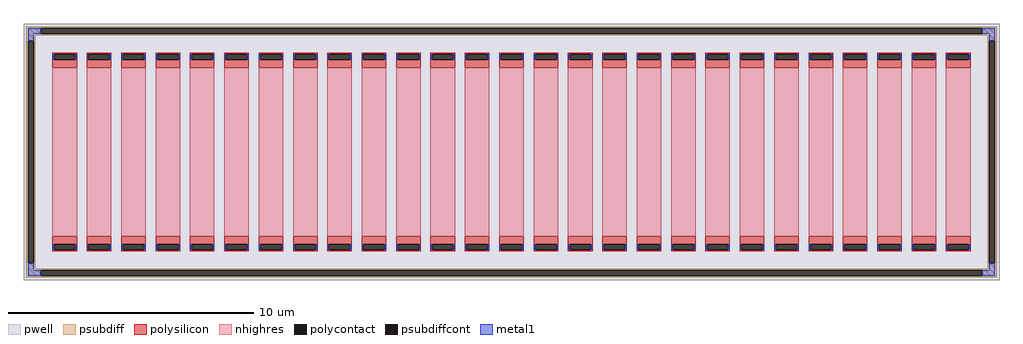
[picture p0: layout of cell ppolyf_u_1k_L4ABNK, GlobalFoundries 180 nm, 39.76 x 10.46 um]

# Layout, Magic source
magic
tech gf180mcuD
magscale 1 10
<< pwell >>
rect -3976 -1046 3976 1046
<< psubdiff >>
rect -3952 1009 3952 1022
rect -3952 963 -3836 1009
rect 3836 963 3952 1009
rect -3952 950 3952 963
rect -3952 906 -3880 950
rect -3952 -906 -3939 906
rect -3893 -906 -3880 906
rect 3880 906 3952 950
rect -3952 -950 -3880 -906
rect 3880 -906 3893 906
rect 3939 -906 3952 906
rect 3880 -950 3952 -906
rect -3952 -963 3952 -950
rect -3952 -1009 -3836 -963
rect 3836 -1009 3952 -963
rect -3952 -1022 3952 -1009
<< psubdiffcont >>
rect -3836 963 3836 1009
rect -3939 -906 -3893 906
rect 3893 -906 3939 906
rect -3836 -1009 3836 -963
<< polysilicon >>
rect -3740 797 -3540 810
rect -3740 751 -3727 797
rect -3553 751 -3540 797
rect -3740 688 -3540 751
rect -3740 -751 -3540 -688
rect -3740 -797 -3727 -751
rect -3553 -797 -3540 -751
rect -3740 -810 -3540 -797
rect -3460 797 -3260 810
rect -3460 751 -3447 797
rect -3273 751 -3260 797
rect -3460 688 -3260 751
rect -3460 -751 -3260 -688
rect -3460 -797 -3447 -751
rect -3273 -797 -3260 -751
rect -3460 -810 -3260 -797
rect -3180 797 -2980 810
rect -3180 751 -3167 797
rect -2993 751 -2980 797
rect -3180 688 -2980 751
rect -3180 -751 -2980 -688
rect -3180 -797 -3167 -751
rect -2993 -797 -2980 -751
rect -3180 -810 -2980 -797
rect -2900 797 -2700 810
rect -2900 751 -2887 797
rect -2713 751 -2700 797
rect -2900 688 -2700 751
rect -2900 -751 -2700 -688
rect -2900 -797 -2887 -751
rect -2713 -797 -2700 -751
rect -2900 -810 -2700 -797
rect -2620 797 -2420 810
rect -2620 751 -2607 797
rect -2433 751 -2420 797
rect -2620 688 -2420 751
rect -2620 -751 -2420 -688
rect -2620 -797 -2607 -751
rect -2433 -797 -2420 -751
rect -2620 -810 -2420 -797
rect -2340 797 -2140 810
rect -2340 751 -2327 797
rect -2153 751 -2140 797
rect -2340 688 -2140 751
rect -2340 -751 -2140 -688
rect -2340 -797 -2327 -751
rect -2153 -797 -2140 -751
rect -2340 -810 -2140 -797
rect -2060 797 -1860 810
rect -2060 751 -2047 797
rect -1873 751 -1860 797
rect -2060 688 -1860 751
rect -2060 -751 -1860 -688
rect -2060 -797 -2047 -751
rect -1873 -797 -1860 -751
rect -2060 -810 -1860 -797
rect -1780 797 -1580 810
rect -1780 751 -1767 797
rect -1593 751 -1580 797
rect -1780 688 -1580 751
rect -1780 -751 -1580 -688
rect -1780 -797 -1767 -751
rect -1593 -797 -1580 -751
rect -1780 -810 -1580 -797
rect -1500 797 -1300 810
rect -1500 751 -1487 797
rect -1313 751 -1300 797
rect -1500 688 -1300 751
rect -1500 -751 -1300 -688
rect -1500 -797 -1487 -751
rect -1313 -797 -1300 -751
rect -1500 -810 -1300 -797
rect -1220 797 -1020 810
rect -1220 751 -1207 797
rect -1033 751 -1020 797
rect -1220 688 -1020 751
rect -1220 -751 -1020 -688
rect -1220 -797 -1207 -751
rect -1033 -797 -1020 -751
rect -1220 -810 -1020 -797
rect -940 797 -740 810
rect -940 751 -927 797
rect -753 751 -740 797
rect -940 688 -740 751
rect -940 -751 -740 -688
rect -940 -797 -927 -751
rect -753 -797 -740 -751
rect -940 -810 -740 -797
rect -660 797 -460 810
rect -660 751 -647 797
rect -473 751 -460 797
rect -660 688 -460 751
rect -660 -751 -460 -688
rect -660 -797 -647 -751
rect -473 -797 -460 -751
rect -660 -810 -460 -797
rect -380 797 -180 810
rect -380 751 -367 797
rect -193 751 -180 797
rect -380 688 -180 751
rect -380 -751 -180 -688
rect -380 -797 -367 -751
rect -193 -797 -180 -751
rect -380 -810 -180 -797
rect -100 797 100 810
rect -100 751 -87 797
rect 87 751 100 797
rect -100 688 100 751
rect -100 -751 100 -688
rect -100 -797 -87 -751
rect 87 -797 100 -751
rect -100 -810 100 -797
rect 180 797 380 810
rect 180 751 193 797
rect 367 751 380 797
rect 180 688 380 751
rect 180 -751 380 -688
rect 180 -797 193 -751
rect 367 -797 380 -751
rect 180 -810 380 -797
rect 460 797 660 810
rect 460 751 473 797
rect 647 751 660 797
rect 460 688 660 751
rect 460 -751 660 -688
rect 460 -797 473 -751
rect 647 -797 660 -751
rect 460 -810 660 -797
rect 740 797 940 810
rect 740 751 753 797
rect 927 751 940 797
rect 740 688 940 751
rect 740 -751 940 -688
rect 740 -797 753 -751
rect 927 -797 940 -751
rect 740 -810 940 -797
rect 1020 797 1220 810
rect 1020 751 1033 797
rect 1207 751 1220 797
rect 1020 688 1220 751
rect 1020 -751 1220 -688
rect 1020 -797 1033 -751
rect 1207 -797 1220 -751
rect 1020 -810 1220 -797
rect 1300 797 1500 810
rect 1300 751 1313 797
rect 1487 751 1500 797
rect 1300 688 1500 751
rect 1300 -751 1500 -688
rect 1300 -797 1313 -751
rect 1487 -797 1500 -751
rect 1300 -810 1500 -797
rect 1580 797 1780 810
rect 1580 751 1593 797
rect 1767 751 1780 797
rect 1580 688 1780 751
rect 1580 -751 1780 -688
rect 1580 -797 1593 -751
rect 1767 -797 1780 -751
rect 1580 -810 1780 -797
rect 1860 797 2060 810
rect 1860 751 1873 797
rect 2047 751 2060 797
rect 1860 688 2060 751
rect 1860 -751 2060 -688
rect 1860 -797 1873 -751
rect 2047 -797 2060 -751
rect 1860 -810 2060 -797
rect 2140 797 2340 810
rect 2140 751 2153 797
rect 2327 751 2340 797
rect 2140 688 2340 751
rect 2140 -751 2340 -688
rect 2140 -797 2153 -751
rect 2327 -797 2340 -751
rect 2140 -810 2340 -797
rect 2420 797 2620 810
rect 2420 751 2433 797
rect 2607 751 2620 797
rect 2420 688 2620 751
rect 2420 -751 2620 -688
rect 2420 -797 2433 -751
rect 2607 -797 2620 -751
rect 2420 -810 2620 -797
rect 2700 797 2900 810
rect 2700 751 2713 797
rect 2887 751 2900 797
rect 2700 688 2900 751
rect 2700 -751 2900 -688
rect 2700 -797 2713 -751
rect 2887 -797 2900 -751
rect 2700 -810 2900 -797
rect 2980 797 3180 810
rect 2980 751 2993 797
rect 3167 751 3180 797
rect 2980 688 3180 751
rect 2980 -751 3180 -688
rect 2980 -797 2993 -751
rect 3167 -797 3180 -751
rect 2980 -810 3180 -797
rect 3260 797 3460 810
rect 3260 751 3273 797
rect 3447 751 3460 797
rect 3260 688 3460 751
rect 3260 -751 3460 -688
rect 3260 -797 3273 -751
rect 3447 -797 3460 -751
rect 3260 -810 3460 -797
rect 3540 797 3740 810
rect 3540 751 3553 797
rect 3727 751 3740 797
rect 3540 688 3740 751
rect 3540 -751 3740 -688
rect 3540 -797 3553 -751
rect 3727 -797 3740 -751
rect 3540 -810 3740 -797
<< polycontact >>
rect -3727 751 -3553 797
rect -3727 -797 -3553 -751
rect -3447 751 -3273 797
rect -3447 -797 -3273 -751
rect -3167 751 -2993 797
rect -3167 -797 -2993 -751
rect -2887 751 -2713 797
rect -2887 -797 -2713 -751
rect -2607 751 -2433 797
rect -2607 -797 -2433 -751
rect -2327 751 -2153 797
rect -2327 -797 -2153 -751
rect -2047 751 -1873 797
rect -2047 -797 -1873 -751
rect -1767 751 -1593 797
rect -1767 -797 -1593 -751
rect -1487 751 -1313 797
rect -1487 -797 -1313 -751
rect -1207 751 -1033 797
rect -1207 -797 -1033 -751
rect -927 751 -753 797
rect -927 -797 -753 -751
rect -647 751 -473 797
rect -647 -797 -473 -751
rect -367 751 -193 797
rect -367 -797 -193 -751
rect -87 751 87 797
rect -87 -797 87 -751
rect 193 751 367 797
rect 193 -797 367 -751
rect 473 751 647 797
rect 473 -797 647 -751
rect 753 751 927 797
rect 753 -797 927 -751
rect 1033 751 1207 797
rect 1033 -797 1207 -751
rect 1313 751 1487 797
rect 1313 -797 1487 -751
rect 1593 751 1767 797
rect 1593 -797 1767 -751
rect 1873 751 2047 797
rect 1873 -797 2047 -751
rect 2153 751 2327 797
rect 2153 -797 2327 -751
rect 2433 751 2607 797
rect 2433 -797 2607 -751
rect 2713 751 2887 797
rect 2713 -797 2887 -751
rect 2993 751 3167 797
rect 2993 -797 3167 -751
rect 3273 751 3447 797
rect 3273 -797 3447 -751
rect 3553 751 3727 797
rect 3553 -797 3727 -751
<< nhighres >>
rect -3740 -688 -3540 688
rect -3460 -688 -3260 688
rect -3180 -688 -2980 688
rect -2900 -688 -2700 688
rect -2620 -688 -2420 688
rect -2340 -688 -2140 688
rect -2060 -688 -1860 688
rect -1780 -688 -1580 688
rect -1500 -688 -1300 688
rect -1220 -688 -1020 688
rect -940 -688 -740 688
rect -660 -688 -460 688
rect -380 -688 -180 688
rect -100 -688 100 688
rect 180 -688 380 688
rect 460 -688 660 688
rect 740 -688 940 688
rect 1020 -688 1220 688
rect 1300 -688 1500 688
rect 1580 -688 1780 688
rect 1860 -688 2060 688
rect 2140 -688 2340 688
rect 2420 -688 2620 688
rect 2700 -688 2900 688
rect 2980 -688 3180 688
rect 3260 -688 3460 688
rect 3540 -688 3740 688
<< metal1 >>
rect -3939 963 -3836 1009
rect 3836 963 3939 1009
rect -3939 906 -3893 963
rect 3893 906 3939 963
rect -3738 751 -3727 797
rect -3553 751 -3542 797
rect -3458 751 -3447 797
rect -3273 751 -3262 797
rect -3178 751 -3167 797
rect -2993 751 -2982 797
rect -2898 751 -2887 797
rect -2713 751 -2702 797
rect -2618 751 -2607 797
rect -2433 751 -2422 797
rect -2338 751 -2327 797
rect -2153 751 -2142 797
rect -2058 751 -2047 797
rect -1873 751 -1862 797
rect -1778 751 -1767 797
rect -1593 751 -1582 797
rect -1498 751 -1487 797
rect -1313 751 -1302 797
rect -1218 751 -1207 797
rect -1033 751 -1022 797
rect -938 751 -927 797
rect -753 751 -742 797
rect -658 751 -647 797
rect -473 751 -462 797
rect -378 751 -367 797
rect -193 751 -182 797
rect -98 751 -87 797
rect 87 751 98 797
rect 182 751 193 797
rect 367 751 378 797
rect 462 751 473 797
rect 647 751 658 797
rect 742 751 753 797
rect 927 751 938 797
rect 1022 751 1033 797
rect 1207 751 1218 797
rect 1302 751 1313 797
rect 1487 751 1498 797
rect 1582 751 1593 797
rect 1767 751 1778 797
rect 1862 751 1873 797
rect 2047 751 2058 797
rect 2142 751 2153 797
rect 2327 751 2338 797
rect 2422 751 2433 797
rect 2607 751 2618 797
rect 2702 751 2713 797
rect 2887 751 2898 797
rect 2982 751 2993 797
rect 3167 751 3178 797
rect 3262 751 3273 797
rect 3447 751 3458 797
rect 3542 751 3553 797
rect 3727 751 3738 797
rect -3738 -797 -3727 -751
rect -3553 -797 -3542 -751
rect -3458 -797 -3447 -751
rect -3273 -797 -3262 -751
rect -3178 -797 -3167 -751
rect -2993 -797 -2982 -751
rect -2898 -797 -2887 -751
rect -2713 -797 -2702 -751
rect -2618 -797 -2607 -751
rect -2433 -797 -2422 -751
rect -2338 -797 -2327 -751
rect -2153 -797 -2142 -751
rect -2058 -797 -2047 -751
rect -1873 -797 -1862 -751
rect -1778 -797 -1767 -751
rect -1593 -797 -1582 -751
rect -1498 -797 -1487 -751
rect -1313 -797 -1302 -751
rect -1218 -797 -1207 -751
rect -1033 -797 -1022 -751
rect -938 -797 -927 -751
rect -753 -797 -742 -751
rect -658 -797 -647 -751
rect -473 -797 -462 -751
rect -378 -797 -367 -751
rect -193 -797 -182 -751
rect -98 -797 -87 -751
rect 87 -797 98 -751
rect 182 -797 193 -751
rect 367 -797 378 -751
rect 462 -797 473 -751
rect 647 -797 658 -751
rect 742 -797 753 -751
rect 927 -797 938 -751
rect 1022 -797 1033 -751
rect 1207 -797 1218 -751
rect 1302 -797 1313 -751
rect 1487 -797 1498 -751
rect 1582 -797 1593 -751
rect 1767 -797 1778 -751
rect 1862 -797 1873 -751
rect 2047 -797 2058 -751
rect 2142 -797 2153 -751
rect 2327 -797 2338 -751
rect 2422 -797 2433 -751
rect 2607 -797 2618 -751
rect 2702 -797 2713 -751
rect 2887 -797 2898 -751
rect 2982 -797 2993 -751
rect 3167 -797 3178 -751
rect 3262 -797 3273 -751
rect 3447 -797 3458 -751
rect 3542 -797 3553 -751
rect 3727 -797 3738 -751
rect -3939 -963 -3893 -906
rect 3893 -963 3939 -906
rect -3939 -1009 -3836 -963
rect 3836 -1009 3939 -963
<< properties >>
string FIXED_BBOX -3916 -986 3916 986
string gencell ppolyf_u_1k
string library gf180mcu
string parameters w 1.0 l 6.88 m 1 nx 27 wmin 1.000 lmin 1.000 class resistor rho 1000 val 7.089k dummy 0 dw 0.0296 term 0.0 sterm 0.0 caplen 0.4 snake 0 glc 1 grc 1 gtc 1 gbc 1 roverlap 0 endcov 100 full_metal 1 guard 1 guard_type pwell compatible {ppolyf_u_1k ppolyf_u_1k_6p0}
<< end >>
